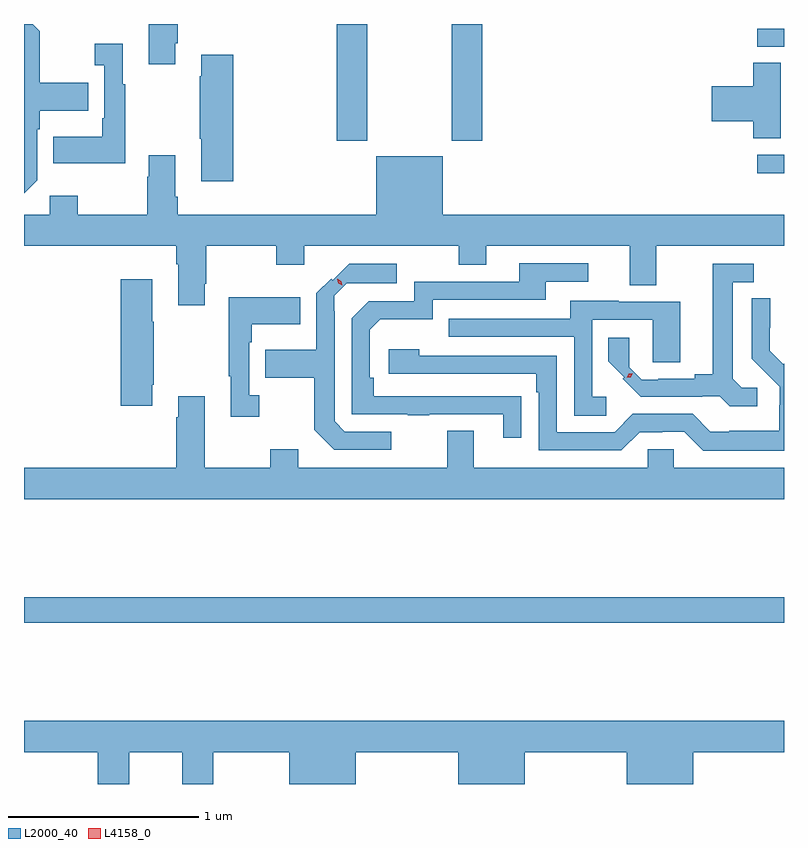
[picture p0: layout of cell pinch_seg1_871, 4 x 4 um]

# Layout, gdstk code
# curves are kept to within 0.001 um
import gdstk
lib = gdstk.Library(unit=1e-6, precision=1e-09)
def R(c, l, rs):  # rectangles x0, y0, x1, y1
    for r in rs: c.add(gdstk.rectangle(r[:2], r[2:], *l))
def P(c, l, *ps):  # polygons
    for p in ps: c.add(gdstk.Polygon(p, *l))
L2000_40 = (2000, 40)
L4158_0 = (4158, 0)

pinch_seg1_871 = lib.new_cell('pinch_seg1_871')
R(pinch_seg1_871, L2000_40, [(613.725,503.128,617.725,503.264), (617.583,505.495,617.725,505.593), (615.371,505.665,615.531,506.28), (615.976,505.665,616.136,506.28), (617.583,506.16,617.725,506.256)])
P(pinch_seg1_871, L2000_40, [(614.521,506.179),(614.534,506.179),(614.534,506.28),(614.381,506.28),(614.381,506.067),(614.521,506.067)],
  [(613.794,505.458),(613.794,505.727),(613.807,505.727),(613.807,505.823),(614.063,505.823),(614.063,505.971),(613.807,505.971),(613.807,506.243),(613.77,506.28),(613.725,506.28),(613.725,505.389)],
  [(614.257,505.963),(614.245,505.963),(614.245,506.176),(614.097,506.176),(614.097,506.063),(614.148,506.063),(614.148,505.783),(614.136,505.783),(614.136,505.687),(613.879,505.687),(613.879,505.547),(614.257,505.547)],
  [(614.825,506.119),(614.657,506.119),(614.657,506.006),(614.65,506.006),(614.65,505.675),(614.657,505.675),(614.657,505.452),(614.825,505.452)],
  [(617.707,506.075),(617.564,506.075),(617.564,505.952),(617.346,505.952),(617.346,505.769),(617.564,505.769),(617.564,505.678),(617.707,505.678)],
  [(614.525,505.016),(614.537,505.016),(614.537,504.801),(614.677,504.801),(614.677,504.913),(614.685,504.913),(614.685,505.112),(615.052,505.112),(615.052,505.013),(615.199,505.013),(615.199,505.112),(616.012,505.112),(616.012,505.013),(616.159,505.013),(616.159,505.112),(616.913,505.112),(616.913,504.904),(617.053,504.904),(617.053,505.112),(617.725,505.112),(617.725,505.276),(615.928,505.276),(615.928,505.585),(615.578,505.585),(615.578,505.276),(614.534,505.276),(614.534,505.372),(614.521,505.372),(614.521,505.588),(614.381,505.588),(614.381,505.475),(614.374,505.475),(614.374,505.276),(614.007,505.276),(614.007,505.375),(613.86,505.375),(613.86,505.276),(613.725,505.276),(613.725,505.112),(614.525,505.112)],
  [(616.343,504.32),(615.566,504.321),(615.566,504.418),(615.546,504.418),(615.546,504.672),(615.599,504.725),(615.876,504.725),(615.876,504.828),(616.471,504.828),(616.471,504.924),(616.696,504.924),(616.696,505.02),(616.331,505.02),(616.331,504.924),(615.78,504.924),(615.78,504.822),(615.54,504.822),(615.45,504.732),(615.45,504.225),(615.745,504.225),(615.745,504.22),(615.857,504.22),(615.857,504.225),(616.247,504.225),(616.247,504.102),(616.343,504.102)],
  [(617.584,504.366),(617.502,504.366),(617.455,504.413),(617.455,504.921),(617.566,504.921),(617.566,505.017),(617.351,505.017),(617.351,504.437),(617.255,504.437),(617.255,504.414),(617.062,504.414),(617.062,504.408),(616.977,504.408),(616.911,504.474),(616.911,504.628),(616.801,504.628),(616.801,504.504),(616.883,504.422),(616.875,504.414),(616.97,504.318),(617.294,504.318),(617.294,504.321),(617.388,504.321),(617.44,504.269),(617.584,504.269)],
  [(615.658,504.135),(615.414,504.135),(615.36,504.189),(615.36,504.767),(615.357,504.767),(615.357,504.849),(615.423,504.915),(615.688,504.915),(615.688,505.017),(615.436,505.017),(615.35,504.931),(615.341,504.94),(615.264,504.863),(615.264,504.565),(614.995,504.565),(614.995,504.418),(615.252,504.418),(615.252,504.145),(615.357,504.039),(615.658,504.039)],
  [(614.401,504.382),(614.409,504.382),(614.409,504.713),(614.401,504.713),(614.401,504.937),(614.234,504.937),(614.234,504.27),(614.401,504.27)],
  [(614.962,504.326),(614.91,504.326),(614.91,504.605),(614.923,504.605),(614.923,504.701),(615.179,504.701),(615.179,504.841),(614.802,504.841),(614.802,504.425),(614.813,504.425),(614.813,504.213),(614.962,504.213)],
  [(617.725,504.491),(617.724,504.492),(617.721,504.489),(617.651,504.56),(617.652,504.836),(617.556,504.836),(617.556,504.518),(617.702,504.37),(617.702,504.273),(617.7,504.273),(617.7,504.139),(617.437,504.139),(617.437,504.135),(617.337,504.135),(617.244,504.228),(616.929,504.228),(616.833,504.132),(616.53,504.132),(616.53,504.534),(615.806,504.534),(615.806,504.568),(615.645,504.568),(615.645,504.438),(616.421,504.438),(616.421,504.341),(616.434,504.341),(616.434,504.036),(616.869,504.036),(616.965,504.132),(617.084,504.132),(617.084,504.135),(617.199,504.135),(617.299,504.035),(617.725,504.035)],
  [(616.789,504.318),(616.716,504.318),(616.716,504.723),(617.033,504.723),(617.033,504.499),(617.179,504.499),(617.179,504.819),(616.855,504.819),(616.855,504.823),(616.601,504.823),(616.601,504.729),(615.961,504.729),(615.961,504.633),(616.62,504.633),(616.62,504.217),(616.789,504.217)],
  [(617.725,503.944),(617.145,503.944),(617.145,504.042),(617.007,504.042),(617.007,503.944),(616.093,503.944),(616.093,504.139),(615.953,504.139),(615.953,503.944),(615.169,503.944),(615.169,504.043),(615.022,504.043),(615.022,503.944),(614.677,503.944),(614.677,504.322),(614.537,504.322),(614.537,504.209),(614.525,504.209),(614.525,503.944),(613.725,503.944),(613.725,503.78),(617.725,503.78)],
  [(614.278,502.448),(614.558,502.448),(614.558,502.28),(614.722,502.28),(614.722,502.448),(615.122,502.448),(615.122,502.28),(615.472,502.28),(615.472,502.448),(616.01,502.448),(616.01,502.28),(616.36,502.28),(616.36,502.448),(616.898,502.448),(616.898,502.28),(617.248,502.28),(617.248,502.448),(617.725,502.448),(617.725,502.612),(613.725,502.612),(613.725,502.448),(614.114,502.448),(614.114,502.28),(614.278,502.28)])
P(pinch_seg1_871, L4158_0, [(616.897,504.417),(616.897,504.418),(616.907,504.438),(616.928,504.442),(616.929,504.442),(616.929,504.442),(616.919,504.422),(616.897,504.417)],
  [(615.399,504.904),(615.378,504.915),(615.374,504.937),(615.374,504.938),(615.374,504.938),(615.394,504.927),(615.399,504.904),(615.399,504.904)])

lib.write_gds('pinch_seg1_871.gds')
